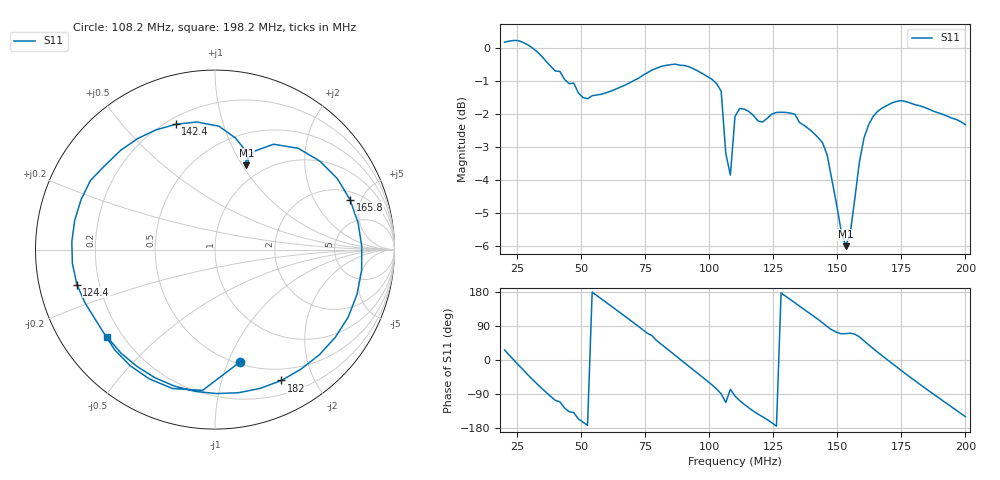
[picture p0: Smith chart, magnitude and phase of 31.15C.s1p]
# HZ S RI R 50
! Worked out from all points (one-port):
!   101 points, 20 MHz to 200 MHz, reference 50 ohm
!   lowest |S11| = -6.0 dB at 153.2 MHz (marker M1), VSWR 3.00, Z = 41.7 + j52.1 ohm
!   |S11| at or under -10 dB: nowhere
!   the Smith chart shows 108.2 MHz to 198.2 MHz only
!   S11 on the Smith chart (normalised r, x): 108.2 MHz: 0.52, -1.11; 124.4 MHz: 0.12, -0.12; 142.4 MHz: 0.24, +0.71; 165.8 MHz: 2.60, +4.02; 182 MHz: 0.36, -1.57; 198.2 MHz: 0.14, -0.35
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2e7  0.914 0.4542
2.54e7  0.9989 -0.2337
3.26e7  0.4553 -0.8764
4.34e7  -0.5341 -0.7195
5.42e7  -0.8462 0.0122
6.5e7  -0.5054 0.7099
7.76e7  0.4051 0.8327
8.84e7  0.9407 0.0437
9.38e7  0.8326 -0.4137
1.01e8  0.3699 -0.8165
1.046e8  0.0102 -0.8598
1.064e8  -0.2607 -0.6409
1.082e8  0.1396 -0.6262
1.1e8  -0.0691 -0.7843
1.154e8  -0.4732 -0.6463
1.244e8  -0.7695 -0.1946
1.334e8  -0.6931 0.3864
1.424e8  -0.2188 0.6983
1.532e8  0.1755 0.4687
1.55e8  0.172 0.4938
1.604e8  0.4638 0.5643
1.658e8  0.7529 0.2763
1.712e8  0.8169 -0.1169
1.784e8  0.5801 -0.5871
1.82e8  0.3703 -0.729
1.892e8  -0.1108 -0.79
1.982e8  -0.6006 -0.4866
2e8  -0.66 -0.3867
